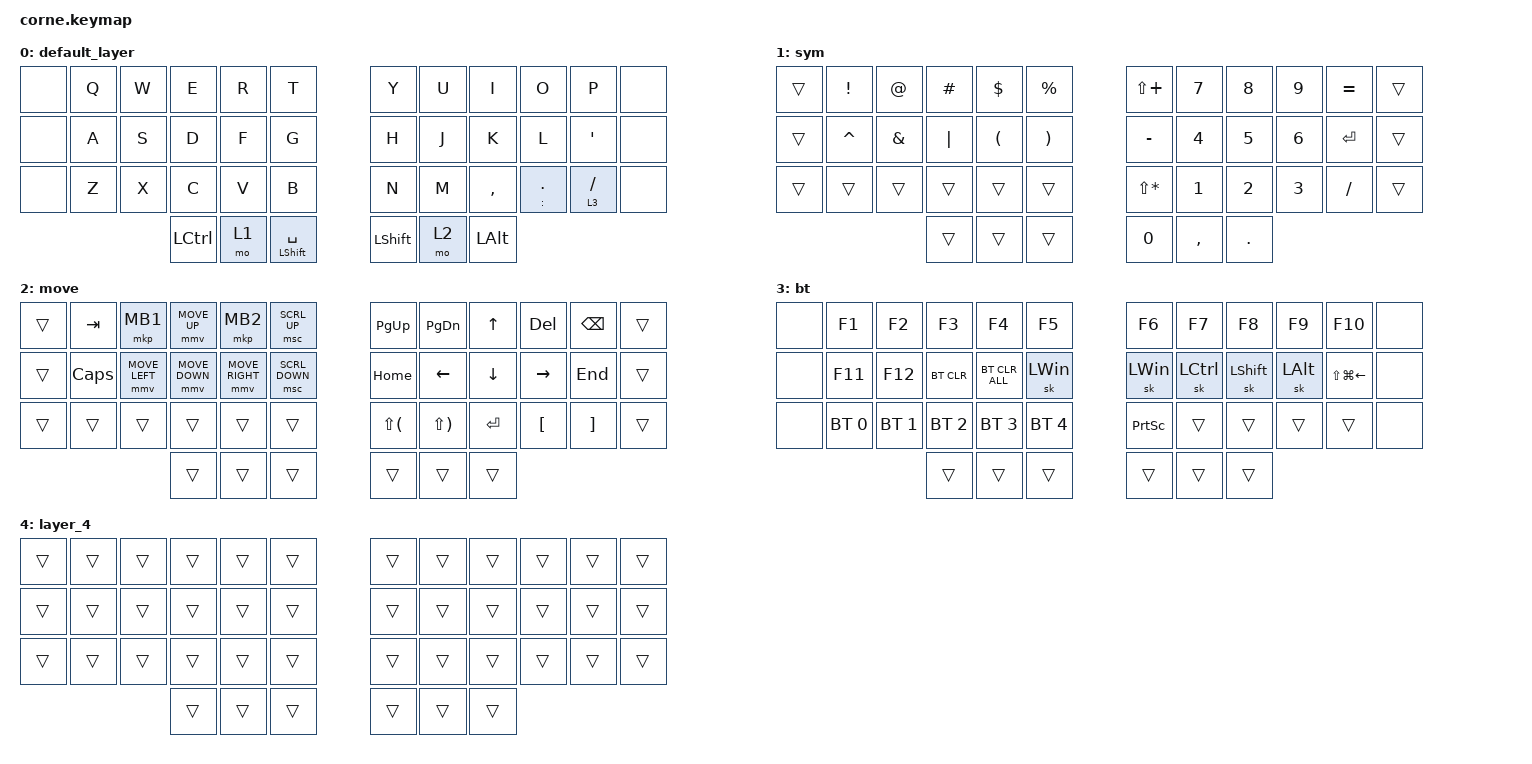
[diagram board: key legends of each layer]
/*
 * Copyright (c) 2020 The ZMK Contributors
 *
 * SPDX-License-Identifier: MIT
 */

#include <behaviors.dtsi>
#include <dt-bindings/zmk/bt.h>
#include <dt-bindings/zmk/keys.h>
#include <dt-bindings/zmk/pointing.h>

/ {
    combos {
        compatible = "zmk,combos";

        q {
            bindings = <&kp ESC>;
            key-positions = <1 2>;
        };

        back {
            bindings = <&kp BACKSPACE>;
            key-positions = <10 9>;
        };

        enter {
            bindings = <&kp ENTER>;
            key-positions = <22 21>;
        };

        tab {
            bindings = <&kp TAB>;
            key-positions = <25 26 26>;
            timeout-ms = <30>;
        };

        semi {
            bindings = <&kp SEMICOLON>;
            key-positions = <32 33>;
        };

        win {
            bindings = <&kp LEFT_WIN>;
            key-positions = <36 41>;
        };

        toggle {
            bindings = <&tog 1>;
            key-positions = <37 40>;
        };

        minus {
            bindings = <&kp MINUS>;
            key-positions = <15 16>;
            layers = <0>;
        };

        underscore {
            bindings = <&kp UNDERSCORE>;
            key-positions = <19 20>;
            layers = <0>;
        };
    };

    keymap {
        compatible = "zmk,keymap";

        default_layer {
            // -----------------------------------------------------------------------------------------
            // |  TAB |  Q  |  W  |  E  |  R  |  T  |   |  Y  |  U   |  I  |  O  |  P  | BKSP |
            // | CTRL |  A  |  S  |  D  |  F  |  G  |   |  H  |  J   |  K  |  L  |  ;  |  '   |
            // | SHFT |  Z  |  X  |  C  |  V  |  B  |   |  N  |  M   |  ,  |  .  |  /  | ESC  |
            //                    | GUI | LWR | SPC |   | ENT | RSE  | ALT |

            bindings = <
&none  &kp Q  &kp W  &kp E      &kp R  &kp T                   &kp Y           &kp U  &kp I         &kp O          &kp P        &none
&none  &kp A  &kp S  &kp D      &kp F  &kp G                   &kp H           &kp J  &kp K         &kp L          &kp SQT      &none
&none  &kp Z  &kp X  &kp C      &kp V  &kp B                   &kp N           &kp M  &kp COMMA     &mt COLON DOT  &lt 3 SLASH  &none
                     &kp LCTRL  &mo 1  &mt LEFT_SHIFT SPACE    &kp LEFT_SHIFT  &mo 2  &kp LEFT_ALT
            >;
        };

        sym {
            // -----------------------------------------------------------------------------------------
            // |  TAB |  !  |  @  |  #  |  $  |  %  |   |  ^  |  &  |  *  |  (  |  )  | BKSP |
            // | CTRL |     |     |     |     |     |   |  -  |  =  |  [  |  ]  |  \  |  `   |
            // | SHFT |     |     |     |     |     |   |  _  |  +  |  {  |  }  | "|" |  ~   |
            //                    | GUI |     | SPC |   | ENT |     | ALT |

            bindings = <
&trans  &kp EXCL   &kp AT         &kp HASH  &kp DLLR              &kp PRCNT                &kp LS(PLUS)  &kp N7     &kp N8   &kp N9  &kp EQUAL  &trans
&trans  &kp CARET  &kp AMPERSAND  &kp PIPE  &kp LEFT_PARENTHESIS  &kp RIGHT_PARENTHESIS    &kp MINUS     &kp N4     &kp N5   &kp N6  &kp RET    &trans
&trans  &trans     &trans         &trans    &trans                &trans                   &kp LS(STAR)  &kp N1     &kp N2   &kp N3  &kp FSLH   &trans
                                  &trans    &trans                &trans                   &kp NUMBER_0  &kp COMMA  &kp DOT
            >;
        };

        move {
            bindings = <
&trans  &kp TAB   &mkp MB1        &mmv MOVE_UP    &mkp MB2         &msc SCRL_UP      &kp PAGE_UP   &kp PAGE_DOWN  &kp UP_ARROW  &kp DEL    &kp BACKSPACE  &trans
&trans  &kp CAPS  &mmv MOVE_LEFT  &mmv MOVE_DOWN  &mmv MOVE_RIGHT  &msc SCRL_DOWN    &kp HOME      &kp LEFT       &kp DOWN      &kp RIGHT  &kp END        &trans
&trans  &trans    &trans          &trans          &trans           &trans            &kp LS(LPAR)  &kp LS(RPAR)   &kp ENTER     &kp LBKT   &kp RBKT       &trans
                                  &trans          &trans           &trans            &trans        &trans         &trans
            >;
        };

        bt {
            // -----------------------------------------------------------------------------------------
            // |  TAB |  1  |  2  |  3  |  4  |  5  |   |  6  |  7  |  8  |  9  |  0  | BKSP |
            // | BTCLR| BT1 | BT2 | BT3 | BT4 | BT5 |   | LFT | DWN |  UP | RGT |     |      |
            // | SHFT |     |     |     |     |     |   |     |     |     |     |     |      |
            //                    | GUI |     | SPC |   | ENT |     | ALT |

            bindings = <
&none  &kp F1        &kp F2        &kp F3        &kp F4          &kp F5          &kp F6           &kp F7     &kp F8          &kp F9        &kp F10           &none
&none  &kp F11       &kp F12       &bt BT_CLR    &bt BT_CLR_ALL  &sk LEFT_WIN    &sk LEFT_WIN     &sk LCTRL  &sk LEFT_SHIFT  &sk LEFT_ALT  &kp LS(LG(LEFT))  &none
&none  &bt BT_SEL 0  &bt BT_SEL 1  &bt BT_SEL 2  &bt BT_SEL 3    &bt BT_SEL 4    &kp PRINTSCREEN  &trans     &trans          &trans        &trans            &none
                                   &trans        &trans          &trans          &trans           &trans     &trans
            >;
        };

        layer_4 {
            bindings = <
&trans  &trans  &trans  &trans  &trans  &trans    &trans  &trans  &trans  &trans  &trans  &trans
&trans  &trans  &trans  &trans  &trans  &trans    &trans  &trans  &trans  &trans  &trans  &trans
&trans  &trans  &trans  &trans  &trans  &trans    &trans  &trans  &trans  &trans  &trans  &trans
                        &trans  &trans  &trans    &trans  &trans  &trans
            >;
        };
    };
};
